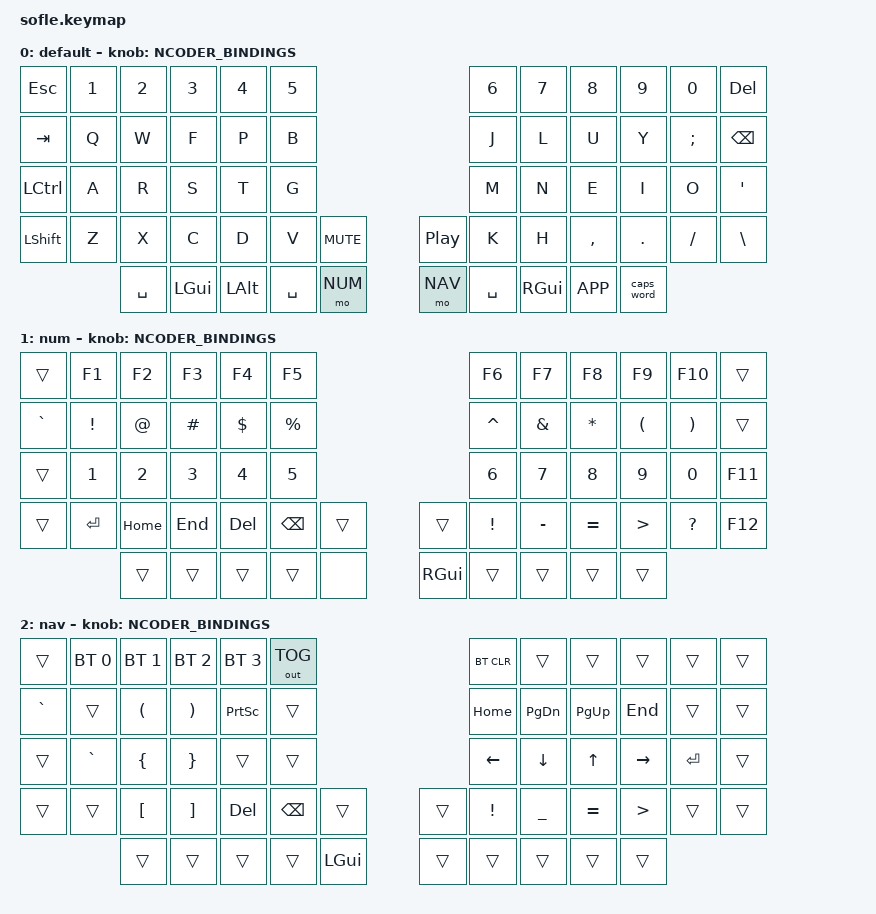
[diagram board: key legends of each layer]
/*
 * Copyright (c) 2020 The ZMK Contributors
 *
 * SPDX-License-Identifier: MIT
 */

#include <behaviors.dtsi>
#include <dt-bindings/zmk/keys.h>
#include <dt-bindings/zmk/bt.h>
#include <dt-bindings/zmk/ext_power.h>
#include <dt-bindings/zmk/outputs.h>

#define BASE 0
#define NUM 1
#define NAV 2
#define ENCODER_BINDINGS &inc_dec_kp C_VOL_UP C_VOL_DN &inc_dec_kp C_NEXT C_PREV
#define REPEAT &key_repeat

/ {
    keymap {
        compatible = "zmk,keymap";

        default_layer {
            display-name = "default";
            bindings = <
&kp ESC     &kp N1  &kp N2     &kp N3    &kp N4    &kp N5                                       &kp N6     &kp N7    &kp N8     &kp N9      &kp N0    &kp DEL
&kp TAB     &kp Q   &kp W      &kp F     &kp P     &kp B                                        &kp J      &kp L     &kp U      &kp Y       &kp SEMI  &kp BSPC
&kp LCTRL   &kp A   &kp R      &kp S     &kp T     &kp G                                        &kp M      &kp N     &kp E      &kp I       &kp O     &kp SQT
&kp LSHIFT  &kp Z   &kp X      &kp C     &kp D     &kp V       &kp C_MUTE            &kp C_PP   &kp K      &kp H     &kp COMMA  &kp DOT     &kp FSLH  &kp BSLH
                    &kp SPACE  &kp LGUI  &kp LALT  &kp SPACE  &mo NUM                &mo NAV    &kp SPACE  &kp RGUI  &kp K_APP  &caps_word
            >;

            // Encoders (Left CW CCW - Right CW CCW)
            sensor-bindings = <ENCODER_BINDINGS>;
        };

        num_layer {
            display-name = "num";
            bindings = <
&trans     &kp F1     &kp F2    &kp F3    &kp F4    &kp F5                                &kp F6     &kp F7     &kp F8     &kp F9    &kp F10    &trans
&kp GRAVE  &kp EXCL   &kp AT    &kp HASH  &kp DLLR  &kp PRCNT                             &kp CARET  &kp AMPS   &kp STAR   &kp LPAR  &kp RPAR   &trans
&trans     &kp N1     &kp N2    &kp N3    &kp N4    &kp N5                                &kp N6     &kp N7     &kp N8     &kp N9    &kp N0     &kp F11
&trans     &kp ENTER  &kp HOME  &kp END   &kp DEL   &kp BSPC   &trans           &trans    &kp EXCL   &kp MINUS  &kp EQUAL  &kp GT    &kp QMARK  &kp F12
                      &trans    &trans    &trans    &trans     &none            &kp RGUI  &trans     &trans     &trans     &trans
            >;

            sensor-bindings = <ENCODER_BINDINGS>;
        };

        nav_layer {
            display-name = "nav";
            bindings = <
&trans     &bt BT_SEL 0  &bt BT_SEL 1  &bt BT_SEL 2  &bt BT_SEL 3  &out OUT_TOG                           &bt BT_CLR  &trans     &trans     &trans     &trans     &trans
&kp GRAVE  &trans        &kp LPAR      &kp RPAR      &kp PSCRN     &trans                                 &kp HOME    &kp PG_DN  &kp PG_UP  &kp END    &trans     &trans
&trans     &kp GRAVE     &kp LBRC      &kp RBRC      &trans        &trans                                 &kp LEFT    &kp DOWN   &kp UP     &kp RIGHT  &kp ENTER  &trans
&trans     &trans        &kp LBKT      &kp RBKT      &kp DEL       &kp BSPC      &trans           &trans  &kp EXCL    &kp UNDER  &kp EQUAL  &kp GT     &trans     &trans
                         &trans        &trans        &trans        &trans        &kp LGUI         &trans  &trans      &trans     &trans     &trans
            >;

            sensor-bindings = <ENCODER_BINDINGS>;
        };
    };
};
